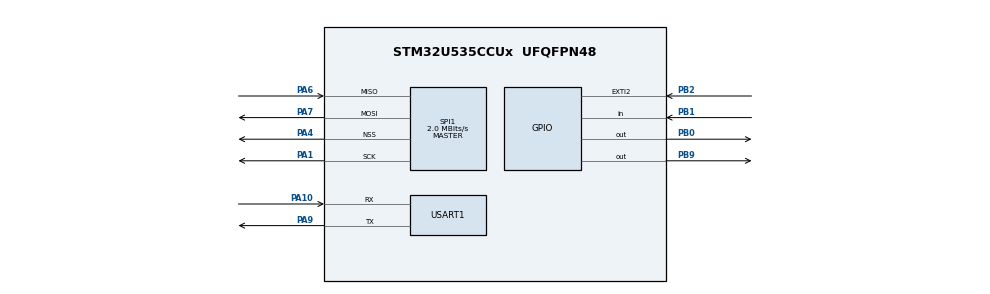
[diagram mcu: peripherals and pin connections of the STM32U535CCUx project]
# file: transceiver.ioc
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CORTEX_M33_NS.userName=CORTEX_M33
Mcu.Family=STM32U5
Mcu.Name=STM32U535CCUx
Mcu.Package=UFQFPN48
NVIC.PriorityGroup=NVIC_PRIORITYGROUP_4
PA1.Mode=Full_Duplex_Master
PA1.Signal=SPI1_SCK
PA10.Mode=Asynchronous
PA10.Signal=USART1_RX
PA13\ (JTMS/SWDIO).Mode=Serial_Wire
PA13\ (JTMS/SWDIO).Signal=DEBUG_JTMS-SWDIO
PA14\ (JTCK/SWCLK).Mode=Serial_Wire
PA14\ (JTCK/SWCLK).Signal=DEBUG_JTCK-SWCLK
PA4.Mode=NSS_Signal_Hard_Output
PA4.Signal=SPI1_NSS
PA6.Mode=Full_Duplex_Master
PA6.Signal=SPI1_MISO
PA7.Mode=Full_Duplex_Master
PA7.Signal=SPI1_MOSI
PA9.Mode=Asynchronous
PA9.Signal=USART1_TX
PB0.Signal=GPIO_Output
PB1.Signal=GPIO_Input
PB2.Signal=GPXTI2
PB9.Signal=GPIO_Output
PC14-OSC32_IN\ (PC14).Mode=LSE-External-Oscillator-for-RTC
PC14-OSC32_IN\ (PC14).Signal=RCC_OSC32_IN
PC15-OSC32_OUT\ (PC15).Mode=LSE-External-Oscillator-for-RTC
PC15-OSC32_OUT\ (PC15).Signal=RCC_OSC32_OUT
PH0-OSC_IN\ (PH0).Mode=HSE-External-Oscillator
PH0-OSC_IN\ (PH0).Signal=RCC_OSC_IN
PH1-OSC_OUT\ (PH1).Mode=HSE-External-Oscillator
PH1-OSC_OUT\ (PH1).Signal=RCC_OSC_OUT
ProjectManager.HeapSize=0x200
ProjectManager.StackSize=0x400
ProjectManager.TargetToolchain=CMake
RCC.ADCFreq_Value=16000000
RCC.DACCLockSelectionVirtualString=RCC_DAC1CLKSOURCE_LSI
RCC.EPOD_VALUE=4000000
RCC.HSE_VALUE=16000000
RCC.HSI48_VALUE=48000000
RCC.HSI_VALUE=16000000
RCC.LSIDIV_VALUE=32000
RCC.MSI_VALUE=4000000
RCC.USBFreq_Value=48000000
RCC.VCOOutputFreq_Value=516000000
SPI1.CalculateBaudRate=2.0 MBits/s
SPI1.Direction=SPI_DIRECTION_2LINES
SPI1.Mode=SPI_MODE_MASTER
SPI1.VirtualNSS=VM_NSSHARD
SPI1.VirtualType=VM_MASTER
USART1.VirtualMode-Asynchronous=VM_ASYNC
VP_ICACHE_VS_ICACHE.Mode=DefaultMode
VP_LPBAMQUEUE_VS_QUEUE.Mode=QUEUEMODE
VP_LPBAM_VS_SIG1.Mode=SmartRun
VP_LPBAM_VS_SIG4.Mode=LPDMA1
VP_MEMORYMAP_VS_MEMORYMAP.Mode=CurAppReg
VP_PWR_VS_SECSignals.Mode=Security/Privilege
board=custom

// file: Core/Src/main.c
/* USER CODE BEGIN Header */
/**
 ******************************************************************************
 * @file           : main.c
 * @brief          : Main program body
 ******************************************************************************
 * @attention
 *
 * Copyright (c) 2026 STMicroelectronics.
 * All rights reserved.
 *
 * This software is licensed under terms that can be found in the LICENSE file
 * in the root directory of this software component.
 * If no LICENSE file comes with this software, it is provided AS-IS.
 *
 ******************************************************************************
 */
/* USER CODE END Header */
#include "main.h"

/* USER CODE BEGIN Includes */

#include "stm32u535xx.h"
#include "stm32u5xx_hal.h"
#include "stm32u5xx_hal_def.h"
#include "stm32u5xx_hal_gpio.h"
#include "stm32u5xx_hal_spi.h"
#include "stm32u5xx_hal_uart.h"
#include "sx126x.h"
#include "sx126x_hal.h"
#include "sx126x_status.h"
#include "uart_reg.h"
#include <stddef.h>
#include <stdint.h>
#include <stdio.h>
#include <sys/types.h>
#include <unistd.h>

/* USER CODE END Includes */

SPI_HandleTypeDef hspi1;

UART_HandleTypeDef huart1;

/* USER CODE BEGIN PV */

const void *RF_CONTEXT;

uint8_t *buf;

uint8_t reg = -1;

settings_t default_settings = {
	0,
	915000,
	8,
	22,
	SX126X_RAMP_20_US,
	SX126X_LORA_SF7,
	SX126X_LORA_BW_125,
	SX126X_LORA_CR_4_8,
	0, // NOTE: Check to see if disabling low data rate optimization is needed for thermal performance.
	SX126X_LORA_PKT_EXPLICIT,
	0xFF, // NOTE: I'm not sure if this is needed because packet type is explicit.
	8,
	SX126X_SLEEP_CFG_COLD_START,
	0,
	1,
	0,
	1,
	0,
};

settings_t *global_settings;

char *debug_msg;

/* USER CODE END PV */

void SystemClock_Config(void);
static void MX_GPIO_Init(void);
static void MX_SPI1_Init(void);
static void MX_USART1_UART_Init(void);
static void MX_ICACHE_Init(void);
/* USER CODE BEGIN PFP */

int log_msg(char *msg, uint8_t log_level);
static void lora_set_config(settings_t *settings);

/* USER CODE END PFP */

int main(void)
{

	/* MCU Configuration--------------------------------------------------------*/

	/* Reset of all peripherals, Initializes the Flash interface and the Systick. */
	HAL_Init();

	/* Configure the system clock */
	SystemClock_Config();

	/* Initialize all configured peripherals */
	MX_GPIO_Init();
	MX_SPI1_Init();
	MX_USART1_UART_Init();
	MX_ICACHE_Init();
	/* USER CODE BEGIN 2 */

	lora_set_config(&default_settings);

	HAL_UART_Receive_IT(&huart1, &reg, 1);

	/* USER CODE END 2 */

	/* Infinite loop */
	while (1)
	{

	}
}

void SystemClock_Config(void)
{
	RCC_OscInitTypeDef RCC_OscInitStruct = {0};
	RCC_ClkInitTypeDef RCC_ClkInitStruct = {0};

	/** Configure the main internal regulator output voltage
	 */
	if (HAL_PWREx_ControlVoltageScaling(PWR_REGULATOR_VOLTAGE_SCALE4) != HAL_OK)
	{
		Error_Handler();
	}

	/** Initializes the CPU, AHB and APB buses clocks
	 */
	RCC_OscInitStruct.OscillatorType = RCC_OSCILLATORTYPE_MSI;
	RCC_OscInitStruct.MSIState = RCC_MSI_ON;
	RCC_OscInitStruct.MSICalibrationValue = RCC_MSICALIBRATION_DEFAULT;
	RCC_OscInitStruct.MSIClockRange = RCC_MSIRANGE_4;
	RCC_OscInitStruct.PLL.PLLState = RCC_PLL_NONE;
	if (HAL_RCC_OscConfig(&RCC_OscInitStruct) != HAL_OK)
	{
		Error_Handler();
	}

	/** Initializes the CPU, AHB and APB buses clocks
	 */
	RCC_ClkInitStruct.ClockType = RCC_CLOCKTYPE_HCLK|RCC_CLOCKTYPE_SYSCLK
	                              |RCC_CLOCKTYPE_PCLK1|RCC_CLOCKTYPE_PCLK2
	                              |RCC_CLOCKTYPE_PCLK3;
	RCC_ClkInitStruct.SYSCLKSource = RCC_SYSCLKSOURCE_MSI;
	RCC_ClkInitStruct.AHBCLKDivider = RCC_SYSCLK_DIV1;
	RCC_ClkInitStruct.APB1CLKDivider = RCC_HCLK_DIV1;
	RCC_ClkInitStruct.APB2CLKDivider = RCC_HCLK_DIV1;
	RCC_ClkInitStruct.APB3CLKDivider = RCC_HCLK_DIV1;

	if (HAL_RCC_ClockConfig(&RCC_ClkInitStruct, FLASH_LATENCY_0) != HAL_OK)
	{
		Error_Handler();
	}
}

static void MX_ICACHE_Init(void)
{

	/** Enable instruction cache (default 2-ways set associative cache)
	 */
	if (HAL_ICACHE_Enable() != HAL_OK)
	{
		Error_Handler();
	}

}

static void MX_SPI1_Init(void)
{

	SPI_AutonomousModeConfTypeDef HAL_SPI_AutonomousMode_Cfg_Struct = {0};

	/* SPI1 parameter configuration*/
	hspi1.Instance = SPI1;
	hspi1.Init.Mode = SPI_MODE_MASTER;
	hspi1.Init.Direction = SPI_DIRECTION_2LINES;
	hspi1.Init.DataSize = SPI_DATASIZE_4BIT;
	hspi1.Init.CLKPolarity = SPI_POLARITY_LOW;
	hspi1.Init.CLKPhase = SPI_PHASE_1EDGE;
	hspi1.Init.NSS = SPI_NSS_HARD_OUTPUT;
	hspi1.Init.BaudRatePrescaler = SPI_BAUDRATEPRESCALER_2;
	hspi1.Init.FirstBit = SPI_FIRSTBIT_MSB;
	hspi1.Init.TIMode = SPI_TIMODE_DISABLE;
	hspi1.Init.CRCCalculation = SPI_CRCCALCULATION_DISABLE;
	hspi1.Init.CRCPolynomial = 0x7;
	hspi1.Init.NSSPMode = SPI_NSS_PULSE_ENABLE;
	hspi1.Init.NSSPolarity = SPI_NSS_POLARITY_LOW;
	hspi1.Init.FifoThreshold = SPI_FIFO_THRESHOLD_01DATA;
	hspi1.Init.MasterSSIdleness = SPI_MASTER_SS_IDLENESS_00CYCLE;
	hspi1.Init.MasterInterDataIdleness = SPI_MASTER_INTERDATA_IDLENESS_00CYCLE;
	hspi1.Init.MasterReceiverAutoSusp = SPI_MASTER_RX_AUTOSUSP_DISABLE;
	hspi1.Init.MasterKeepIOState = SPI_MASTER_KEEP_IO_STATE_DISABLE;
	hspi1.Init.IOSwap = SPI_IO_SWAP_DISABLE;
	hspi1.Init.ReadyMasterManagement = SPI_RDY_MASTER_MANAGEMENT_INTERNALLY;
	hspi1.Init.ReadyPolarity = SPI_RDY_POLARITY_HIGH;
	if (HAL_SPI_Init(&hspi1) != HAL_OK)
	{
		Error_Handler();
	}
	HAL_SPI_AutonomousMode_Cfg_Struct.TriggerState = SPI_AUTO_MODE_DISABLE;
	HAL_SPI_AutonomousMode_Cfg_Struct.TriggerSelection = SPI_GRP1_GPDMA_CH0_TCF_TRG;
	HAL_SPI_AutonomousMode_Cfg_Struct.TriggerPolarity = SPI_TRIG_POLARITY_RISING;
	if (HAL_SPIEx_SetConfigAutonomousMode(&hspi1, &HAL_SPI_AutonomousMode_Cfg_Struct) != HAL_OK)
	{
		Error_Handler();
	}

}

static void MX_USART1_UART_Init(void)
{

	huart1.Instance = USART1;
	huart1.Init.BaudRate = 115200;
	huart1.Init.WordLength = UART_WORDLENGTH_8B;
	huart1.Init.StopBits = UART_STOPBITS_1;
	huart1.Init.Parity = UART_PARITY_NONE;
	huart1.Init.Mode = UART_MODE_TX_RX;
	huart1.Init.HwFlowCtl = UART_HWCONTROL_NONE;
	huart1.Init.OverSampling = UART_OVERSAMPLING_16;
	huart1.Init.OneBitSampling = UART_ONE_BIT_SAMPLE_DISABLE;
	huart1.Init.ClockPrescaler = UART_PRESCALER_DIV1;
	huart1.AdvancedInit.AdvFeatureInit = UART_ADVFEATURE_NO_INIT;
	if (HAL_UART_Init(&huart1) != HAL_OK)
	{
		Error_Handler();
	}
	if (HAL_UARTEx_SetTxFifoThreshold(&huart1, UART_TXFIFO_THRESHOLD_1_8) != HAL_OK)
	{
		Error_Handler();
	}
	if (HAL_UARTEx_SetRxFifoThreshold(&huart1, UART_RXFIFO_THRESHOLD_1_8) != HAL_OK)
	{
		Error_Handler();
	}
	if (HAL_UARTEx_DisableFifoMode(&huart1) != HAL_OK)
	{
		Error_Handler();
	}

}

static void MX_GPIO_Init(void)
{
	GPIO_InitTypeDef GPIO_InitStruct = {0};

	/* GPIO Ports Clock Enable */
	__HAL_RCC_GPIOC_CLK_ENABLE();
	__HAL_RCC_GPIOH_CLK_ENABLE();
	__HAL_RCC_GPIOA_CLK_ENABLE();
	__HAL_RCC_GPIOB_CLK_ENABLE();

	/*Configure GPIO pin Output Level */
	HAL_GPIO_WritePin(GPIOB, GPIO_PIN_0|GPIO_PIN_9, GPIO_PIN_RESET);

	/*Configure GPIO pins : PB0 PB9 */
	GPIO_InitStruct.Pin = GPIO_PIN_0|GPIO_PIN_9;
	GPIO_InitStruct.Mode = GPIO_MODE_OUTPUT_PP;
	GPIO_InitStruct.Pull = GPIO_NOPULL;
	GPIO_InitStruct.Speed = GPIO_SPEED_FREQ_LOW;
	HAL_GPIO_Init(GPIOB, &GPIO_InitStruct);

	/*Configure GPIO pin : PB1 */
	GPIO_InitStruct.Pin = GPIO_PIN_1;
	GPIO_InitStruct.Mode = GPIO_MODE_INPUT;
	GPIO_InitStruct.Pull = GPIO_NOPULL;
	HAL_GPIO_Init(GPIOB, &GPIO_InitStruct);

	/*Configure GPIO pin : PB2 */
	GPIO_InitStruct.Pin = GPIO_PIN_2;
	GPIO_InitStruct.Mode = GPIO_MODE_IT_RISING;
	GPIO_InitStruct.Pull = GPIO_NOPULL;
	HAL_GPIO_Init(GPIOB, &GPIO_InitStruct);

}

/* USER CODE BEGIN 4 */

void HAL_UART_RxCpltCallback(UART_HandleTypeDef *huart) {
	if (huart->Instance == USART1) {
		if (reg > 0) {
			// Call handle function for each register.
			reg_handle[reg](huart, global_settings);
		}
		// Receive the next register.
		HAL_UART_Receive_IT(huart, &reg, 1);
	}
}

void HAL_GPIO_EXTI_Callback(uint16_t GPIO_Pin) {
	if (!global_settings->auto_rx) {
		return;
	}

	sx126x_read_buffer(RF_CONTEXT, 0, buf, global_settings->payload_len);

	HAL_UART_Transmit(&huart1, buf, global_settings->payload_len, 500);

}

int log_msg(char *msg, uint8_t log_level) {
	size_t msg_len = sizeof(&msg);
	char data[BUFFER_SIZE + 1];

	// Check to see if log_level is valid.
	if (log_level < 1) {
		return 1;
	}

	// Check to see if msg_len is valid.
	if (msg_len <= BUFFER_SIZE) {
		for (int i = 0; i < msg_len; i++) {
			if (i < msg_len) {
				data[i] = msg[i];
			} else {
				data[i] = 0;
			}
		}
		// Add log level to data.
		data[BUFFER_SIZE] = log_level;
		if (HAL_UART_Transmit(&huart1, (uint8_t *)data, BUFFER_SIZE, 100) ==
		    HAL_OK) {
			return 0;
		}
	}

	return 1;
}

static void lora_set_config(settings_t *settings) {
	if (global_settings->log_level > 2) {
		log_msg("Configuring SX1262.", 3);
	}

	// Set DIO1 to packet received interrupt
	sx126x_set_dio_irq_params(RF_CONTEXT, 1, 1, 0, 0);

	sx126x_set_pkt_type(RF_CONTEXT, SX126X_PKT_TYPE_LORA);

	global_settings = settings;

	sx126x_set_rf_freq(RF_CONTEXT, settings->frequency);
	sx126x_set_tx_params(RF_CONTEXT, settings->power, settings->ramp_time);

	sx126x_mod_params_lora_t lora_mod_params = {
		settings->spreading_factor, settings->bandwidth, settings->coding_rate,
		settings->low_datarate_optimization
	};
	sx126x_set_lora_mod_params(RF_CONTEXT, &lora_mod_params);

	sx126x_pkt_params_lora_t lora_pkt_params = {
		settings->preamble_len, settings->header_type, settings->payload_len,
		settings->crc_en, settings->invert_iq
	};
	sx126x_set_lora_pkt_params(RF_CONTEXT, &lora_pkt_params);

	sx126x_set_lora_symb_nb_timeout(RF_CONTEXT, settings->lora_symb_timeout);
}

/* SX126X hal funcion definitions --------------------------------------------*/
sx126x_hal_status_t sx126x_hal_write(const void *context,
                                     const uint8_t *command,
                                     const uint16_t command_length,
                                     const uint8_t *data,
                                     const uint16_t data_length) {
	// Wait until the busy pin is low and ready for commands.
	while (HAL_GPIO_ReadPin(GPIOB, GPIO_PIN_1)) {
		;
	}

	uint8_t buf[command_length + data_length];
	for (int i = 0; i < command_length; i++) {
		buf[i] = command[i];
	}
	for (int i = 0; i < data_length; i++) {
		buf[i] = data[i];
	}

	if (HAL_SPI_Transmit(&hspi1, buf, command_length + data_length, 100) ==
	    HAL_OK) {
		return SX126X_HAL_STATUS_OK;
	} else {
		return SX126X_HAL_STATUS_ERROR;
	}
}

sx126x_hal_status_t sx126x_hal_read(const void *context, const uint8_t *command,
                                    const uint16_t command_length,
                                    uint8_t *data, const uint16_t data_length) {
	// Wait until the busy pin is low and ready for commands.
	while (HAL_GPIO_ReadPin(GPIOB, GPIO_PIN_1)) {
		;
	}

	// Using HAL_SPI_Transmit and HAL_SPI_Receive instead of
	// HAL_SPI_TransmitReceive in case command_length != data_length.
	if (HAL_SPI_Transmit(&hspi1, command, command_length, 100) != HAL_OK) {
		return SX126X_HAL_STATUS_ERROR;
	}

	if (HAL_SPI_Receive(&hspi1, data, data_length, 100) != HAL_OK) {
		return SX126X_HAL_STATUS_ERROR;
	}

	return SX126X_HAL_STATUS_OK;
}

sx126x_hal_status_t sx126x_hal_reset(const void *context) {
	HAL_GPIO_WritePin(GPIOB, GPIO_PIN_0, GPIO_PIN_RESET);
	HAL_Delay(1);
	HAL_GPIO_WritePin(GPIOB, GPIO_PIN_0, GPIO_PIN_SET);

	// Wait until the busy pin is low and ready for commands.
	while (HAL_GPIO_ReadPin(GPIOB, GPIO_PIN_1)) {
		;
	}

	return SX126X_HAL_STATUS_OK;
}

sx126x_hal_status_t sx126x_hal_wakeup(const void *context) {
	// Wait until the busy pin is low and ready for commands.
	while (HAL_GPIO_ReadPin(GPIOB, GPIO_PIN_1)) {
		;
	}

	// Send dummy data to sx1262 to pull NSS low which will wake it up.
	uint8_t *data = {0};
	HAL_SPI_Transmit(&hspi1, data, 1, 100);
	return SX126X_HAL_STATUS_OK;
}

/* USER CODE END 4 */

void Error_Handler(void)
{
	__disable_irq();
	while (1)
	{
	}
}
